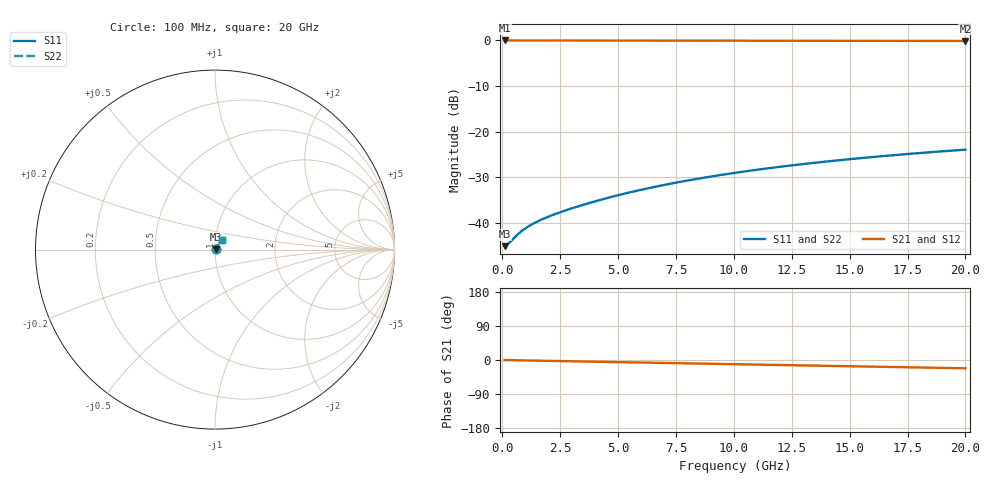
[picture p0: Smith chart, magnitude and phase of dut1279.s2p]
! Touchstone file exported from HFSS 2026.1.0
!  File:  C:/ffzhzh/LocalFiles/Ansys_Project_Files/temp_train_TMRDL_1279_1783164304_22436.aedt
!  Generated:  07:26:13 PM Jul  4, 2026
!  Design:  TMRDL
!  Project:  temp_train_TMRDL_1279_1783164304_22436
! Variables:
!  h_bsmrdl = 2um
!  h_ox = 20um
!  h_rdl = 5um
!  h_sub = 80um
!  h_tmrdl = 2.04um
!  h_tsv = 80um
!  h_via = 3um
!  l_bsmrdl = 300um
!  l_sub = 787.78um
!  l_tmrdl = 387.78um
!  m_sub = 200um
!  pitch = 15.87um
!  r_tsv = 6um
!  s_tmrdl = 10um
!  w_bsmrdl = 18um
!  w_sub = 500um
!  w_tmrdl = 12.56um
!  x_tsv_center1 = 394.06um
!  x_tsv_center2 = 712.06um
!  x_tsv_center3 = 1112.4um
!  x_tsv_center4 = 1430.4um
!  x_tsv_center5 = 1830.74um
!  x_tsv_center6 = 2148.74um
# GHz S MA R 50.000000
! Terminal data exported
! Port[1] = TM_RDL1_1_T1
! Port[2] = TM_RDL1_1_T2
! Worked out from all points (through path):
!   200 points, 100 MHz to 20 GHz, reference 50 ohm
!   highest |S21| = -0.05 dB at 100 MHz (marker M1); lowest = -0.2 dB at 20 GHz (marker M2)
!   group delay of S21, straight-line fit = 3.03 ps
!   lowest |S11| = -45.0 dB at 100 MHz (marker M3), VSWR 1.01, Z = 50.6 + j0.0662 ohm
!   |S11| at or under -10 dB: start of sweep to end of sweep
!   |S22| runs from -45.0 to -23.9 dB; largest |S21 - S12| = 4.3e-15
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0.1  0.005609 6.7  0.9944 -0.1  0.9944 -0.1  0.005609 6.7
! Gamma 0 0 0 0
! Port Impedance 50 0 50 0
0.2  0.00581 12.8  0.9943 -0.3  0.9943 -0.3  0.00581 12.8
0.3  0.006111 18.0  0.9942 -0.4  0.9942 -0.4  0.006111 18.0
0.6  0.007277 28.2  0.9936 -0.8  0.9936 -0.8  0.007277 28.2
0.9  0.00844 33.5  0.993 -1.1  0.993 -1.1  0.00844 33.5
1.1  0.009141 35.8  0.9927 -1.3  0.9927 -1.3  0.009141 35.8
1.4  0.0101 38.6  0.9922 -1.7  0.9922 -1.7  0.0101 38.6
1.8  0.01126 41.7  0.9918 -2.1  0.9918 -2.1  0.01126 41.7
2.3  0.01263 45.0  0.9914 -2.6  0.9914 -2.6  0.01263 45.0
2.9  0.01426 48.4  0.9911 -3.3  0.9911 -3.3  0.01426 48.3
3.5  0.01591 51.1  0.9908 -4.0  0.9908 -4.0  0.01591 51.1
4.3  0.01818 54.1  0.9905 -4.8  0.9905 -4.8  0.01818 54.0
5.1  0.02051 56.2  0.9902 -5.7  0.9902 -5.7  0.02052 56.2
5.9  0.0229 57.7  0.9898 -6.6  0.9898 -6.6  0.02291 57.7
6.8  0.02562 58.9  0.9895 -7.6  0.9895 -7.6  0.02563 58.9
8.4  0.03051 59.9  0.9887 -9.3  0.9887 -9.3  0.03052 59.9
10.1  0.03569 60.0  0.9879 -11.2  0.9879 -11.2  0.0357 60.0
11.7  0.04049 59.6  0.987 -12.9  0.987 -12.9  0.04052 59.5
13.4  0.0455 58.7  0.986 -14.8  0.986 -14.8  0.04553 58.6
15  0.05011 57.7  0.985 -16.5  0.985 -16.5  0.05014 57.6
16.7  0.05486 56.4  0.9839 -18.4  0.9839 -18.4  0.0549 56.2
20  0.06369 53.6  0.9818 -21.9  0.9818 -21.9  0.06375 53.4
